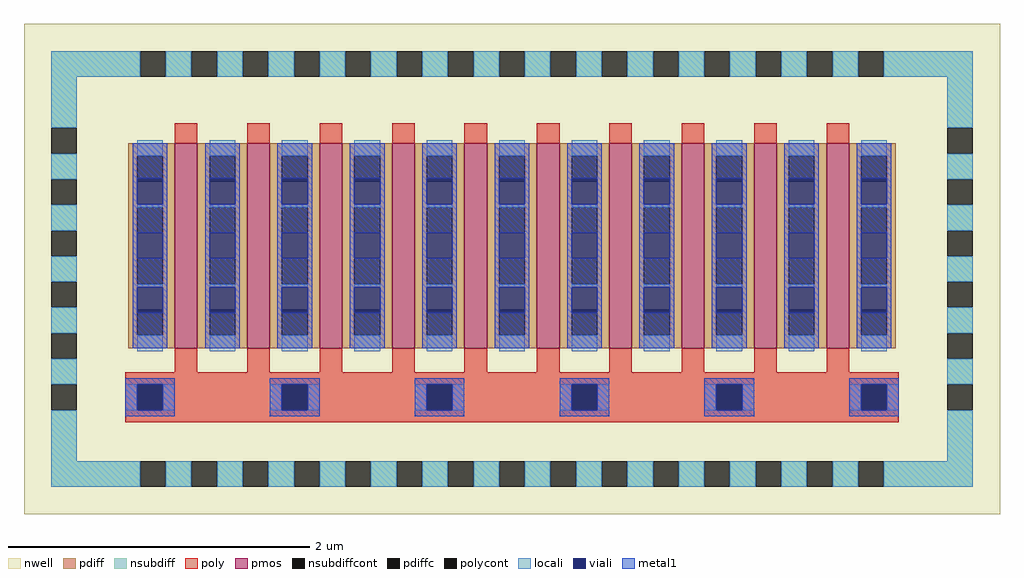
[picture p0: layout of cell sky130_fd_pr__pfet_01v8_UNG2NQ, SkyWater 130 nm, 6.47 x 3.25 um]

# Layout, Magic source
magic
tech sky130A
magscale 1 2
<< nwell >>
rect -646 -356 648 294
<< pmos >>
rect -446 -136 -416 136
rect -350 -136 -320 136
rect -254 -136 -224 136
rect -158 -136 -128 136
rect -62 -136 -32 136
rect 34 -136 64 136
rect 130 -136 160 136
rect 226 -136 256 136
rect 322 -136 352 136
rect 418 -136 448 136
<< pdiff >>
rect -508 119 -446 136
rect -508 85 -496 119
rect -462 85 -446 119
rect -508 51 -446 85
rect -508 17 -496 51
rect -462 17 -446 51
rect -508 -17 -446 17
rect -508 -51 -496 -17
rect -462 -51 -446 -17
rect -508 -85 -446 -51
rect -508 -119 -496 -85
rect -462 -119 -446 -85
rect -508 -136 -446 -119
rect -416 119 -350 136
rect -416 85 -400 119
rect -366 85 -350 119
rect -416 51 -350 85
rect -416 17 -400 51
rect -366 17 -350 51
rect -416 -17 -350 17
rect -416 -51 -400 -17
rect -366 -51 -350 -17
rect -416 -85 -350 -51
rect -416 -119 -400 -85
rect -366 -119 -350 -85
rect -416 -136 -350 -119
rect -320 119 -254 136
rect -320 85 -304 119
rect -270 85 -254 119
rect -320 51 -254 85
rect -320 17 -304 51
rect -270 17 -254 51
rect -320 -17 -254 17
rect -320 -51 -304 -17
rect -270 -51 -254 -17
rect -320 -85 -254 -51
rect -320 -119 -304 -85
rect -270 -119 -254 -85
rect -320 -136 -254 -119
rect -224 119 -158 136
rect -224 85 -208 119
rect -174 85 -158 119
rect -224 51 -158 85
rect -224 17 -208 51
rect -174 17 -158 51
rect -224 -17 -158 17
rect -224 -51 -208 -17
rect -174 -51 -158 -17
rect -224 -85 -158 -51
rect -224 -119 -208 -85
rect -174 -119 -158 -85
rect -224 -136 -158 -119
rect -128 119 -62 136
rect -128 85 -112 119
rect -78 85 -62 119
rect -128 51 -62 85
rect -128 17 -112 51
rect -78 17 -62 51
rect -128 -17 -62 17
rect -128 -51 -112 -17
rect -78 -51 -62 -17
rect -128 -85 -62 -51
rect -128 -119 -112 -85
rect -78 -119 -62 -85
rect -128 -136 -62 -119
rect -32 119 34 136
rect -32 85 -16 119
rect 18 85 34 119
rect -32 51 34 85
rect -32 17 -16 51
rect 18 17 34 51
rect -32 -17 34 17
rect -32 -51 -16 -17
rect 18 -51 34 -17
rect -32 -85 34 -51
rect -32 -119 -16 -85
rect 18 -119 34 -85
rect -32 -136 34 -119
rect 64 119 130 136
rect 64 85 80 119
rect 114 85 130 119
rect 64 51 130 85
rect 64 17 80 51
rect 114 17 130 51
rect 64 -17 130 17
rect 64 -51 80 -17
rect 114 -51 130 -17
rect 64 -85 130 -51
rect 64 -119 80 -85
rect 114 -119 130 -85
rect 64 -136 130 -119
rect 160 119 226 136
rect 160 85 176 119
rect 210 85 226 119
rect 160 51 226 85
rect 160 17 176 51
rect 210 17 226 51
rect 160 -17 226 17
rect 160 -51 176 -17
rect 210 -51 226 -17
rect 160 -85 226 -51
rect 160 -119 176 -85
rect 210 -119 226 -85
rect 160 -136 226 -119
rect 256 119 322 136
rect 256 85 272 119
rect 306 85 322 119
rect 256 51 322 85
rect 256 17 272 51
rect 306 17 322 51
rect 256 -17 322 17
rect 256 -51 272 -17
rect 306 -51 322 -17
rect 256 -85 322 -51
rect 256 -119 272 -85
rect 306 -119 322 -85
rect 256 -136 322 -119
rect 352 119 418 136
rect 352 85 368 119
rect 402 85 418 119
rect 352 51 418 85
rect 352 17 368 51
rect 402 17 418 51
rect 352 -17 418 17
rect 352 -51 368 -17
rect 402 -51 418 -17
rect 352 -85 418 -51
rect 352 -119 368 -85
rect 402 -119 418 -85
rect 352 -136 418 -119
rect 448 119 510 136
rect 448 85 464 119
rect 498 85 510 119
rect 448 51 510 85
rect 448 17 464 51
rect 498 17 510 51
rect 448 -17 510 17
rect 448 -51 464 -17
rect 498 -51 510 -17
rect 448 -85 510 -51
rect 448 -119 464 -85
rect 498 -119 510 -85
rect 448 -136 510 -119
<< pdiffc >>
rect -496 85 -462 119
rect -496 17 -462 51
rect -496 -51 -462 -17
rect -496 -119 -462 -85
rect -400 85 -366 119
rect -400 17 -366 51
rect -400 -51 -366 -17
rect -400 -119 -366 -85
rect -304 85 -270 119
rect -304 17 -270 51
rect -304 -51 -270 -17
rect -304 -119 -270 -85
rect -208 85 -174 119
rect -208 17 -174 51
rect -208 -51 -174 -17
rect -208 -119 -174 -85
rect -112 85 -78 119
rect -112 17 -78 51
rect -112 -51 -78 -17
rect -112 -119 -78 -85
rect -16 85 18 119
rect -16 17 18 51
rect -16 -51 18 -17
rect -16 -119 18 -85
rect 80 85 114 119
rect 80 17 114 51
rect 80 -51 114 -17
rect 80 -119 114 -85
rect 176 85 210 119
rect 176 17 210 51
rect 176 -51 210 -17
rect 176 -119 210 -85
rect 272 85 306 119
rect 272 17 306 51
rect 272 -51 306 -17
rect 272 -119 306 -85
rect 368 85 402 119
rect 368 17 402 51
rect 368 -51 402 -17
rect 368 -119 402 -85
rect 464 85 498 119
rect 464 17 498 51
rect 464 -51 498 -17
rect 464 -119 498 -85
<< nsubdiff >>
rect -610 224 -492 258
rect -458 224 -424 258
rect -390 224 -356 258
rect -322 224 -288 258
rect -254 224 -220 258
rect -186 224 -152 258
rect -118 224 -84 258
rect -50 224 -16 258
rect 18 224 52 258
rect 86 224 120 258
rect 154 224 188 258
rect 222 224 256 258
rect 290 224 324 258
rect 358 224 392 258
rect 426 224 460 258
rect 494 224 612 258
rect -610 156 -576 224
rect 578 156 612 224
rect -610 88 -576 122
rect -610 20 -576 54
rect -610 -48 -576 -14
rect -610 -116 -576 -82
rect 578 88 612 122
rect 578 20 612 54
rect 578 -48 612 -14
rect 578 -116 612 -82
rect -610 -184 -576 -150
rect -610 -286 -576 -218
rect 578 -184 612 -150
rect 578 -286 612 -218
rect -610 -320 -492 -286
rect -458 -320 -424 -286
rect -390 -320 -356 -286
rect -322 -320 -288 -286
rect -254 -320 -220 -286
rect -186 -320 -152 -286
rect -118 -320 -84 -286
rect -50 -320 -16 -286
rect 18 -320 52 -286
rect 86 -320 120 -286
rect 154 -320 188 -286
rect 222 -320 256 -286
rect 290 -320 324 -286
rect 358 -320 392 -286
rect 426 -320 460 -286
rect 494 -320 612 -286
<< nsubdiffcont >>
rect -492 224 -458 258
rect -424 224 -390 258
rect -356 224 -322 258
rect -288 224 -254 258
rect -220 224 -186 258
rect -152 224 -118 258
rect -84 224 -50 258
rect -16 224 18 258
rect 52 224 86 258
rect 120 224 154 258
rect 188 224 222 258
rect 256 224 290 258
rect 324 224 358 258
rect 392 224 426 258
rect 460 224 494 258
rect -610 122 -576 156
rect -610 54 -576 88
rect -610 -14 -576 20
rect -610 -82 -576 -48
rect -610 -150 -576 -116
rect 578 122 612 156
rect 578 54 612 88
rect 578 -14 612 20
rect 578 -82 612 -48
rect 578 -150 612 -116
rect -610 -218 -576 -184
rect 578 -218 612 -184
rect -492 -320 -458 -286
rect -424 -320 -390 -286
rect -356 -320 -322 -286
rect -288 -320 -254 -286
rect -220 -320 -186 -286
rect -152 -320 -118 -286
rect -84 -320 -50 -286
rect -16 -320 18 -286
rect 52 -320 86 -286
rect 120 -320 154 -286
rect 188 -320 222 -286
rect 256 -320 290 -286
rect 324 -320 358 -286
rect 392 -320 426 -286
rect 460 -320 494 -286
<< poly >>
rect -446 136 -416 162
rect -350 136 -320 162
rect -254 136 -224 162
rect -158 136 -128 162
rect -62 136 -32 162
rect 34 136 64 162
rect 130 136 160 162
rect 226 136 256 162
rect 322 136 352 162
rect 418 136 448 162
rect -446 -168 -416 -136
rect -350 -168 -320 -136
rect -254 -168 -224 -136
rect -158 -168 -128 -136
rect -62 -168 -32 -136
rect 34 -168 64 -136
rect 130 -168 160 -136
rect 226 -168 256 -136
rect 322 -168 352 -136
rect 418 -168 448 -136
rect -512 -184 514 -168
rect -512 -218 -496 -184
rect -462 -218 -304 -184
rect -270 -218 -112 -184
rect -78 -218 80 -184
rect 114 -218 272 -184
rect 306 -218 464 -184
rect 498 -218 514 -184
rect -512 -234 514 -218
<< polycont >>
rect -496 -218 -462 -184
rect -304 -218 -270 -184
rect -112 -218 -78 -184
rect 80 -218 114 -184
rect 272 -218 306 -184
rect 464 -218 498 -184
<< locali >>
rect -610 224 -492 258
rect -458 224 -424 258
rect -390 224 -356 258
rect -322 224 -288 258
rect -254 224 -220 258
rect -186 224 -152 258
rect -118 224 -84 258
rect -50 224 -16 258
rect 18 224 52 258
rect 86 224 120 258
rect 154 224 188 258
rect 222 224 256 258
rect 290 224 324 258
rect 358 224 392 258
rect 426 224 460 258
rect 494 224 612 258
rect -610 156 -576 224
rect 578 156 612 224
rect -610 88 -576 122
rect -610 20 -576 54
rect -610 -48 -576 -14
rect -610 -116 -576 -82
rect -496 119 -462 140
rect -496 51 -462 55
rect -496 -55 -462 -51
rect -496 -140 -462 -119
rect -400 119 -366 140
rect -400 51 -366 55
rect -400 -55 -366 -51
rect -400 -140 -366 -119
rect -304 119 -270 140
rect -304 51 -270 55
rect -304 -55 -270 -51
rect -304 -140 -270 -119
rect -208 119 -174 140
rect -208 51 -174 55
rect -208 -55 -174 -51
rect -208 -140 -174 -119
rect -112 119 -78 140
rect -112 51 -78 55
rect -112 -55 -78 -51
rect -112 -140 -78 -119
rect -16 119 18 140
rect -16 51 18 55
rect -16 -55 18 -51
rect -16 -140 18 -119
rect 80 119 114 140
rect 80 51 114 55
rect 80 -55 114 -51
rect 80 -140 114 -119
rect 176 119 210 140
rect 176 51 210 55
rect 176 -55 210 -51
rect 176 -140 210 -119
rect 272 119 306 140
rect 272 51 306 55
rect 272 -55 306 -51
rect 272 -140 306 -119
rect 368 119 402 140
rect 368 51 402 55
rect 368 -55 402 -51
rect 368 -140 402 -119
rect 464 119 498 140
rect 464 51 498 55
rect 464 -55 498 -51
rect 464 -140 498 -119
rect 578 88 612 122
rect 578 20 612 54
rect 578 -48 612 -14
rect 578 -116 612 -82
rect -610 -184 -576 -150
rect 578 -184 612 -150
rect -512 -218 -496 -184
rect -462 -218 -446 -184
rect -320 -218 -304 -184
rect -270 -218 -254 -184
rect -128 -218 -112 -184
rect -78 -218 -62 -184
rect 64 -218 80 -184
rect 114 -218 130 -184
rect 256 -218 272 -184
rect 306 -218 322 -184
rect 448 -218 464 -184
rect 498 -218 514 -184
rect -610 -286 -576 -218
rect 578 -286 612 -218
rect -610 -320 -492 -286
rect -458 -320 -424 -286
rect -390 -320 -356 -286
rect -322 -320 -288 -286
rect -254 -320 -220 -286
rect -186 -320 -152 -286
rect -118 -320 -84 -286
rect -50 -320 -16 -286
rect 18 -320 52 -286
rect 86 -320 120 -286
rect 154 -320 188 -286
rect 222 -320 256 -286
rect 290 -320 324 -286
rect 358 -320 392 -286
rect 426 -320 460 -286
rect 494 -320 612 -286
<< viali >>
rect -496 85 -462 89
rect -496 55 -462 85
rect -496 -17 -462 17
rect -496 -85 -462 -55
rect -496 -89 -462 -85
rect -400 85 -366 89
rect -400 55 -366 85
rect -400 -17 -366 17
rect -400 -85 -366 -55
rect -400 -89 -366 -85
rect -304 85 -270 89
rect -304 55 -270 85
rect -304 -17 -270 17
rect -304 -85 -270 -55
rect -304 -89 -270 -85
rect -208 85 -174 89
rect -208 55 -174 85
rect -208 -17 -174 17
rect -208 -85 -174 -55
rect -208 -89 -174 -85
rect -112 85 -78 89
rect -112 55 -78 85
rect -112 -17 -78 17
rect -112 -85 -78 -55
rect -112 -89 -78 -85
rect -16 85 18 89
rect -16 55 18 85
rect -16 -17 18 17
rect -16 -85 18 -55
rect -16 -89 18 -85
rect 80 85 114 89
rect 80 55 114 85
rect 80 -17 114 17
rect 80 -85 114 -55
rect 80 -89 114 -85
rect 176 85 210 89
rect 176 55 210 85
rect 176 -17 210 17
rect 176 -85 210 -55
rect 176 -89 210 -85
rect 272 85 306 89
rect 272 55 306 85
rect 272 -17 306 17
rect 272 -85 306 -55
rect 272 -89 306 -85
rect 368 85 402 89
rect 368 55 402 85
rect 368 -17 402 17
rect 368 -85 402 -55
rect 368 -89 402 -85
rect 464 85 498 89
rect 464 55 498 85
rect 464 -17 498 17
rect 464 -85 498 -55
rect 464 -89 498 -85
rect -496 -218 -462 -184
rect -304 -218 -270 -184
rect -112 -218 -78 -184
rect 80 -218 114 -184
rect 272 -218 306 -184
rect 464 -218 498 -184
<< metal1 >>
rect -502 89 -456 136
rect -502 55 -496 89
rect -462 55 -456 89
rect -502 17 -456 55
rect -502 -17 -496 17
rect -462 -17 -456 17
rect -502 -55 -456 -17
rect -502 -89 -496 -55
rect -462 -89 -456 -55
rect -502 -136 -456 -89
rect -406 89 -360 136
rect -406 55 -400 89
rect -366 55 -360 89
rect -406 17 -360 55
rect -406 -17 -400 17
rect -366 -17 -360 17
rect -406 -55 -360 -17
rect -406 -89 -400 -55
rect -366 -89 -360 -55
rect -406 -136 -360 -89
rect -310 89 -264 136
rect -310 55 -304 89
rect -270 55 -264 89
rect -310 17 -264 55
rect -310 -17 -304 17
rect -270 -17 -264 17
rect -310 -55 -264 -17
rect -310 -89 -304 -55
rect -270 -89 -264 -55
rect -310 -136 -264 -89
rect -214 89 -168 136
rect -214 55 -208 89
rect -174 55 -168 89
rect -214 17 -168 55
rect -214 -17 -208 17
rect -174 -17 -168 17
rect -214 -55 -168 -17
rect -214 -89 -208 -55
rect -174 -89 -168 -55
rect -214 -136 -168 -89
rect -118 89 -72 136
rect -118 55 -112 89
rect -78 55 -72 89
rect -118 17 -72 55
rect -118 -17 -112 17
rect -78 -17 -72 17
rect -118 -55 -72 -17
rect -118 -89 -112 -55
rect -78 -89 -72 -55
rect -118 -136 -72 -89
rect -22 89 24 136
rect -22 55 -16 89
rect 18 55 24 89
rect -22 17 24 55
rect -22 -17 -16 17
rect 18 -17 24 17
rect -22 -55 24 -17
rect -22 -89 -16 -55
rect 18 -89 24 -55
rect -22 -136 24 -89
rect 74 89 120 136
rect 74 55 80 89
rect 114 55 120 89
rect 74 17 120 55
rect 74 -17 80 17
rect 114 -17 120 17
rect 74 -55 120 -17
rect 74 -89 80 -55
rect 114 -89 120 -55
rect 74 -136 120 -89
rect 170 89 216 136
rect 170 55 176 89
rect 210 55 216 89
rect 170 17 216 55
rect 170 -17 176 17
rect 210 -17 216 17
rect 170 -55 216 -17
rect 170 -89 176 -55
rect 210 -89 216 -55
rect 170 -136 216 -89
rect 266 89 312 136
rect 266 55 272 89
rect 306 55 312 89
rect 266 17 312 55
rect 266 -17 272 17
rect 306 -17 312 17
rect 266 -55 312 -17
rect 266 -89 272 -55
rect 306 -89 312 -55
rect 266 -136 312 -89
rect 362 89 408 136
rect 362 55 368 89
rect 402 55 408 89
rect 362 17 408 55
rect 362 -17 368 17
rect 402 -17 408 17
rect 362 -55 408 -17
rect 362 -89 368 -55
rect 402 -89 408 -55
rect 362 -136 408 -89
rect 458 89 504 136
rect 458 55 464 89
rect 498 55 504 89
rect 458 17 504 55
rect 458 -17 464 17
rect 498 -17 504 17
rect 458 -55 504 -17
rect 458 -89 464 -55
rect 498 -89 504 -55
rect 458 -136 504 -89
rect -512 -184 -446 -176
rect -512 -218 -496 -184
rect -462 -218 -446 -184
rect -512 -226 -446 -218
rect -320 -184 -254 -176
rect -320 -218 -304 -184
rect -270 -218 -254 -184
rect -320 -226 -254 -218
rect -128 -184 -62 -176
rect -128 -218 -112 -184
rect -78 -218 -62 -184
rect -128 -226 -62 -218
rect 64 -184 130 -176
rect 64 -218 80 -184
rect 114 -218 130 -184
rect 64 -226 130 -218
rect 256 -184 322 -176
rect 256 -218 272 -184
rect 306 -218 322 -184
rect 256 -226 322 -218
rect 448 -184 514 -176
rect 448 -218 464 -184
rect 498 -218 514 -184
rect 448 -226 514 -218
<< properties >>
string FIXED_BBOX -594 -302 594 302
<< end >>
